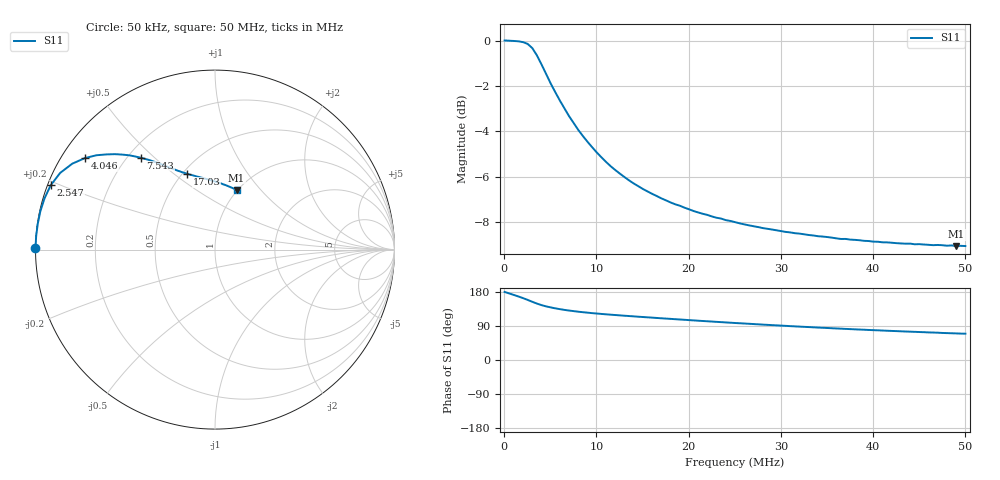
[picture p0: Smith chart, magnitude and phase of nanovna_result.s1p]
# Hz S RI R 50
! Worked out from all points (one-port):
!   101 points, 50 kHz to 50 MHz, reference 50 ohm
!   lowest |S11| = -9.0 dB at 49 MHz (marker M1), VSWR 2.09, Z = 49.5 + j37.5 ohm
!   |S11| at or under -10 dB: nowhere
!   S11 on the Smith chart (normalised r, x): 50 kHz: -0.00, +0.00; 2.547 MHz: 0.01, +0.19; 4.046 MHz: 0.07, +0.31; 7.543 MHz: 0.25, +0.45; 17.03 MHz: 0.53, +0.56; 50 MHz: 1.00, +0.75
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50000  -1 0.00737
1049000  -0.9874 0.1444
1548500  -0.9729 0.2142
2048000  -0.95 0.2854
2547500  -0.9154 0.3585
3047000  -0.8626 0.4273
3546499  -0.7949 0.4789
4046000  -0.7253 0.5096
4545500  -0.6614 0.5255
5045000  -0.6051 0.5303
5544500  -0.5567 0.5318
6543500  -0.4763 0.5251
7042999  -0.4424 0.5183
7542500  -0.4139 0.512
8541500  -0.3633 0.4979
9540500  -0.3231 0.4848
1.1039e7  -0.2751 0.4658
1.25375e7  -0.2377 0.451
1.45355e7  -0.1965 0.4361
1.7033e7  -0.1544 0.4224
1.9031e7  -0.1262 0.4145
2.1029e7  -0.0992 0.4068
2.5025e7  -0.053 0.3951
3.15185e7  0.00839 0.3769
3.75125e7  0.0539 0.3609
4.4006e7  0.0938 0.345
4.9001e7  0.1198 0.332
5e7  0.1241 0.3307
